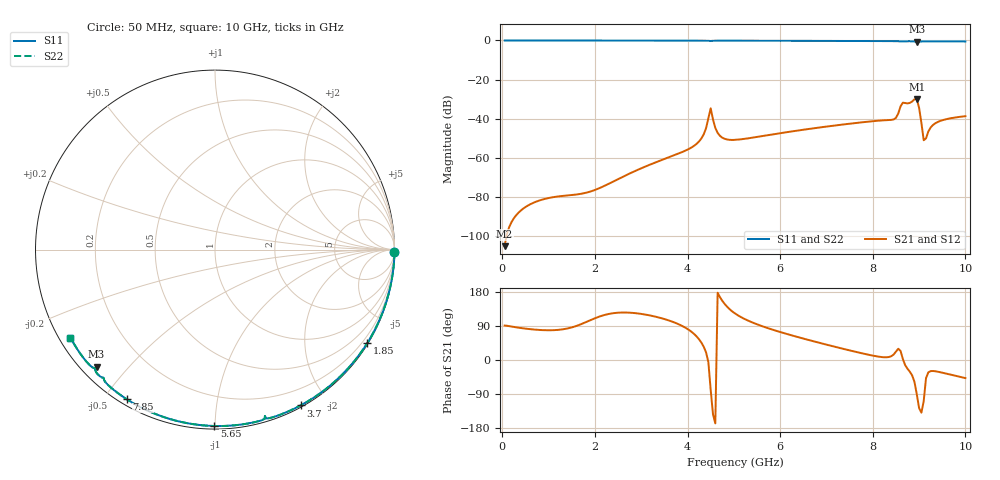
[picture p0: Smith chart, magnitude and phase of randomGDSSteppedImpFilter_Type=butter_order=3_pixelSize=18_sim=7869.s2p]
! freq	dB(S11)	phase(S11)	dB(S12)	phase(S12)
!  dB(S21)	phase(S21)	dB(S22)	phase(S22)
!S-par simulation data
#  GHz  S  DB  R 50
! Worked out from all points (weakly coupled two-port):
!   200 points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, 50 MHz to 10 GHz, reference 50 ohm
!   highest |S21| = -29.98 dB at 8.95 GHz (marker M1); lowest = -105.2 dB at 50 MHz (marker M2)
!   lowest |S11| = -0.7 dB at 8.95 GHz (marker M3), VSWR 26.64, Z = 2.19 - j20.5 ohm
!   |S11| at or under -10 dB: nowhere
!   |S22| runs from -0.7 to 0.0 dB; largest |S21 - S12| = 0
!   S11 on the Smith chart (normalised r, x): 50 MHz: open; 1.85 GHz: 0.03, -3.55; 3.7 GHz: 0.02, -1.69; 5.65 GHz: 0.02, -1.00; 7.85 GHz: 0.02, -0.57; 10 GHz: 0.03, -0.28
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0.05  -0.00 -0.9  -105.17 90.9  -105.17 90.9  -0.00 -0.9
1.75  -0.04 -29.8  -78.18 97.0  -78.18 97.0  -0.04 -29.8
1.85  -0.04 -31.4  -77.61 102.3  -77.61 102.3  -0.04 -31.4
3.4  -0.08 -56.5  -61.51 111.5  -61.51 111.5  -0.08 -56.5
3.7  -0.08 -61.2  -58.81 99.8  -58.81 99.8  -0.08 -61.2
4.25  -0.10 -69.8  -51.58 54.4  -51.58 54.4  -0.10 -69.8
4.4  -0.12 -72.2  -44.85 20.1  -44.85 20.1  -0.12 -72.2
4.5  -0.29 -73.3  -34.69 -79.2  -34.69 -79.2  -0.29 -73.3
4.6  -0.13 -74.6  -44.73 -167.3  -44.73 -167.3  -0.13 -74.6
4.7  -0.12 -76.2  -48.75 165.9  -48.75 165.9  -0.12 -76.2
5.05  -0.13 -81.5  -50.76 121.0  -50.76 121.0  -0.13 -81.5
5.65  -0.15 -90.2  -48.75 87.6  -48.75 87.6  -0.15 -90.2
6.7  -0.20 -104.9  -44.98 50.0  -44.98 50.0  -0.20 -104.9
7.85  -0.28 -120.5  -41.63 15.4  -41.63 15.4  -0.28 -120.5
8.35  -0.33 -127.4  -40.69 7.9  -40.69 7.9  -0.33 -127.4
8.5  -0.37 -129.6  -39.59 21.9  -39.59 21.9  -0.37 -129.6
8.65  -0.47 -131.1  -31.81 2.5  -31.81 2.5  -0.47 -131.1
8.95  -0.65 -135.3  -29.98 -90.2  -29.98 -90.2  -0.66 -135.4
9  -0.62 -134.9  -34.40 -126.8  -34.40 -126.8  -0.62 -134.8
9.1  -0.47 -136.1  -51.01 -108.4  -51.01 -108.4  -0.48 -136.1
9.35  -0.45 -139.8  -42.34 -29.7  -42.34 -29.7  -0.45 -139.8
10  -0.51 -148.7  -38.71 -47.8  -38.71 -47.8  -0.51 -148.7
